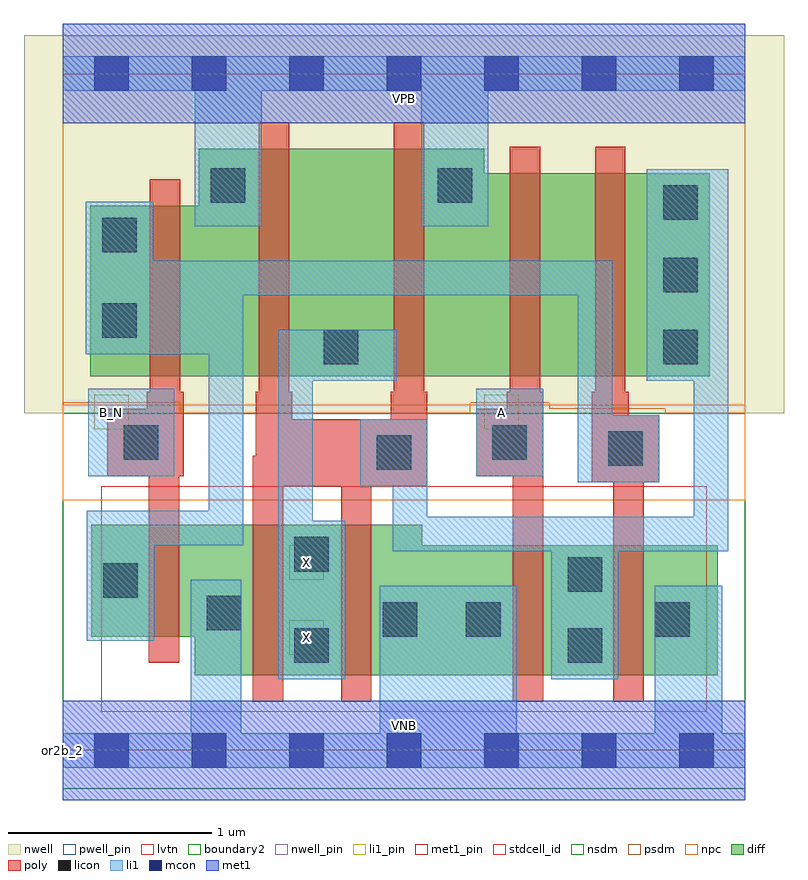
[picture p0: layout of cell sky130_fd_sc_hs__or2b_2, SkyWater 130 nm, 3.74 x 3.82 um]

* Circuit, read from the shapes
.subckt sky130_fd_sc_hs__or2b_2 A B_N VGND VNB VPB VPWR X
XM1 VGND B_N n1 VNB sky130_fd_pr__nfet_01v8_lvt w=0.55 l=0.15
XM2 X n2 VGND VNB sky130_fd_pr__nfet_01v8_lvt w=0.74 l=0.15 m=2
XM3 n2 A VGND VNB sky130_fd_pr__nfet_01v8_lvt w=0.64 l=0.15
XM4 VGND n1 n2 VNB sky130_fd_pr__nfet_01v8_lvt w=0.64 l=0.15
XM5 VPWR B_N n1 VPB sky130_fd_pr__pfet_01v8 w=0.84 l=0.15
XM6 X n2 VPWR VPB sky130_fd_pr__pfet_01v8 w=1.12 l=0.15 m=2
XM7 n3 A VPWR VPB sky130_fd_pr__pfet_01v8 w=1 l=0.15
XM8 n2 n1 n3 VPB sky130_fd_pr__pfet_01v8 w=1 l=0.15
.ends

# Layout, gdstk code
import gdstk
lib = gdstk.Library(unit=1e-6, precision=1e-09)
def R(c, l, rs):  # rectangles x0, y0, x1, y1
    for r in rs: c.add(gdstk.rectangle(r[:2], r[2:], *l))
def A(c, l, x, y, w, h, nx, ny, dx, dy):  # array of equal rectangles
    R(c, l, [(x+i*dx, y+j*dy, x+i*dx+w, y+j*dy+h) for i in range(nx) for j in range(ny)])
def P(c, l, *ps):  # polygons
    for p in ps: c.add(gdstk.Polygon(p, *l))
nwell_pin = (64, 16)
nwell = (64, 20)
diff = (65, 20)
poly = (66, 20)
licon = (66, 44)
li1_pin = (67, 16)
li1 = (67, 20)
mcon = (67, 44)
met1_pin = (68, 16)
met1 = (68, 20)
stdcell_id = (81, 4)
nsdm = (93, 44)
psdm = (94, 20)
npc = (95, 20)
pwell_pin = (122, 16)
lvtn = (125, 44)
boundary2 = (236, 0)

sky130_fd_sc_hs__or2b_2 = lib.new_cell('sky130_fd_sc_hs__or2b_2')
R(sky130_fd_sc_hs__or2b_2, nwell_pin, [(0,3.085,3.36,3.33)])
R(sky130_fd_sc_hs__or2b_2, nwell, [(-0.19,1.66,3.55,3.52)])
P(sky130_fd_sc_hs__or2b_2, diff, [(3.185,2.84),(2.075,2.84),(2.075,2.96),(0.67,2.96),(0.67,2.68),(0.135,2.68),(0.135,1.84),(3.185,1.84)],
  [(3.225,1.01),(1.77,1.01),(1.77,1.11),(0.14,1.11),(0.14,0.56),(0.65,0.56),(0.65,0.37),(3.225,0.37)])
P(sky130_fd_sc_hs__or2b_2, poly, [(2.935,1.65),(2.785,1.65),(2.785,1.765),(2.77,1.765),(2.77,2.97),(2.62,2.97),(2.62,1.765),(2.605,1.765),(2.605,1.32),(2.71,1.32),(2.71,0.24),(2.86,0.24),(2.86,1.32),(2.935,1.32)],
  [(2.365,1.765),(2.35,1.765),(2.35,2.97),(2.2,2.97),(2.2,1.765),(2.185,1.765),(2.185,1.68),(2.035,1.68),(2.035,1.35),(2.215,1.35),(2.215,0.24),(2.365,0.24)],
  [(1.795,1.765),(1.78,1.765),(1.78,3.09),(1.63,3.09),(1.63,1.765),(1.615,1.765),(1.615,1.63),(1.13,1.63),(1.13,1.765),(1.115,1.765),(1.115,3.09),(0.965,3.09),(0.965,1.765),(0.95,1.765),(0.95,1.45),(0.935,1.45),(0.935,0.24),(1.085,0.24),(1.085,1.3),(1.37,1.3),(1.37,0.24),(1.52,0.24),(1.52,1.3),(1.795,1.3)],
  [(0.595,1.765),(0.58,1.765),(0.58,2.81),(0.43,2.81),(0.43,1.765),(0.415,1.765),(0.415,1.68),(0.22,1.68),(0.22,1.35),(0.425,1.35),(0.425,0.43),(0.575,0.43),(0.575,1.35),(0.595,1.35)])
A(sky130_fd_sc_hs__or2b_2, licon, 2.955, 1.9, 0.17, 0.17, 1, 3, 0, 0.355)
R(sky130_fd_sc_hs__or2b_2, licon, [(1.14,0.43,1.31,0.6), (2.485,0.43,2.655,0.6), (1.575,0.56,1.745,0.73), (1.985,0.56,2.155,0.73), (2.915,0.56,3.085,0.73), (0.71,0.59,0.88,0.76), (0.2,0.75,0.37,0.92), (2.485,0.78,2.655,0.95), (1.14,0.88,1.31,1.05), (1.545,1.38,1.715,1.55), (2.685,1.4,2.855,1.57), (0.3,1.43,0.47,1.6), (2.115,1.43,2.285,1.6), (1.285,1.9,1.455,2.07), (0.195,2.03,0.365,2.2), (0.195,2.45,0.365,2.62), (0.73,2.695,0.9,2.865), (1.845,2.695,2.015,2.865)])
R(sky130_fd_sc_hs__or2b_2, li1_pin, [(1.115,0.47,1.285,0.64), (1.115,0.84,1.285,1.01), (0.155,1.58,0.325,1.75), (2.075,1.58,2.245,1.75)])
R(sky130_fd_sc_hs__or2b_2, li1, [(0.125,1.35,0.55,1.78), (2.035,1.35,2.365,1.78)])
P(sky130_fd_sc_hs__or2b_2, li1, [(1.06,0.35),(1.06,2.07),(1.645,2.07),(1.645,1.82),(1.23,1.82),(1.23,1.13),(1.39,1.13),(1.39,0.35)],
  [(0.65,2.58),(0.65,3.245),(0,3.245),(0,3.415),(3.36,3.415),(3.36,3.245),(2.095,3.245),(2.095,2.58),(1.765,2.58),(1.765,3.245),(0.98,3.245),(0.98,2.58)],
  [(2.915,0.085),(2.915,0.81),(3.245,0.81),(3.245,0.085),(3.36,0.085),(3.36,-0.085),(0,-0.085),(0,0.085),(0.63,0.085),(0.63,0.84),(0.88,0.84),(0.88,0.085),(1.56,0.085),(1.56,0.81),(2.235,0.81),(2.235,0.085)],
  [(0.445,2.41),(2.705,2.41),(2.705,1.65),(2.935,1.65),(2.935,1.32),(2.535,1.32),(2.535,2.24),(0.89,2.24),(0.89,1.01),(0.45,1.01),(0.45,0.54),(0.12,0.54),(0.12,1.18),(0.72,1.18),(0.72,1.95),(0.115,1.95),(0.115,2.7),(0.445,2.7)],
  [(1.625,0.98),(1.625,1.3),(1.465,1.3),(1.465,1.63),(1.795,1.63),(1.795,1.15),(3.105,1.15),(3.105,1.82),(2.875,1.82),(2.875,2.86),(3.275,2.86),(3.275,0.98),(2.735,0.98),(2.735,0.35),(2.405,0.35),(2.405,0.98)])
A(sky130_fd_sc_hs__or2b_2, mcon, 0.155, -0.085, 0.17, 0.17, 7, 2, 0.48, 3.33)
R(sky130_fd_sc_hs__or2b_2, met1_pin, [(0,0,3.36,0.245), (0,3.085,3.36,3.33)])
R(sky130_fd_sc_hs__or2b_2, met1, [(0,-0.245,3.36,0.245), (0,3.085,3.36,3.575)])
R(sky130_fd_sc_hs__or2b_2, stdcell_id, [(0,0,3.36,3.33)])
R(sky130_fd_sc_hs__or2b_2, nsdm, [(0,-0.19,3.36,1.66)])
P(sky130_fd_sc_hs__or2b_2, psdm, [(3.36,3.52),(0,3.52),(0,1.71),(0.58,1.71),(0.58,1.66),(2.005,1.66),(2.005,1.71),(2.395,1.71),(2.395,1.68),(2.965,1.68),(2.965,1.66),(3.36,1.66)])
R(sky130_fd_sc_hs__or2b_2, npc, [(0,1.23,3.36,1.7)])
R(sky130_fd_sc_hs__or2b_2, pwell_pin, [(0,0,3.36,0.245)])
R(sky130_fd_sc_hs__or2b_2, lvtn, [(0.19,0.19,3.17,1.3)])
R(sky130_fd_sc_hs__or2b_2, boundary2, [(0,0,3.36,3.33)])
sky130_fd_sc_hs__or2b_2.add(gdstk.Label('or2b_2', (0,0), layer=83, texttype=44))
sky130_fd_sc_hs__or2b_2.add(gdstk.Label('VNB', (1.68,0.123), layer=64, texttype=59))
sky130_fd_sc_hs__or2b_2.add(gdstk.Label('VPB', (1.68,3.208), layer=64, texttype=5))
sky130_fd_sc_hs__or2b_2.add(gdstk.Label('VPWR', (1.68,3.208), layer=68, texttype=5))
sky130_fd_sc_hs__or2b_2.add(gdstk.Label('VGND', (1.68,0.123), layer=68, texttype=5))
sky130_fd_sc_hs__or2b_2.add(gdstk.Label('X', (1.2,0.555), layer=67, texttype=5))
sky130_fd_sc_hs__or2b_2.add(gdstk.Label('X', (1.2,0.925), layer=67, texttype=5))
sky130_fd_sc_hs__or2b_2.add(gdstk.Label('B_N', (0.24,1.665), layer=67, texttype=5))
sky130_fd_sc_hs__or2b_2.add(gdstk.Label('A', (2.16,1.665), layer=67, texttype=5))

lib.write_gds('sky130_fd_sc_hs__or2b_2.gds')
